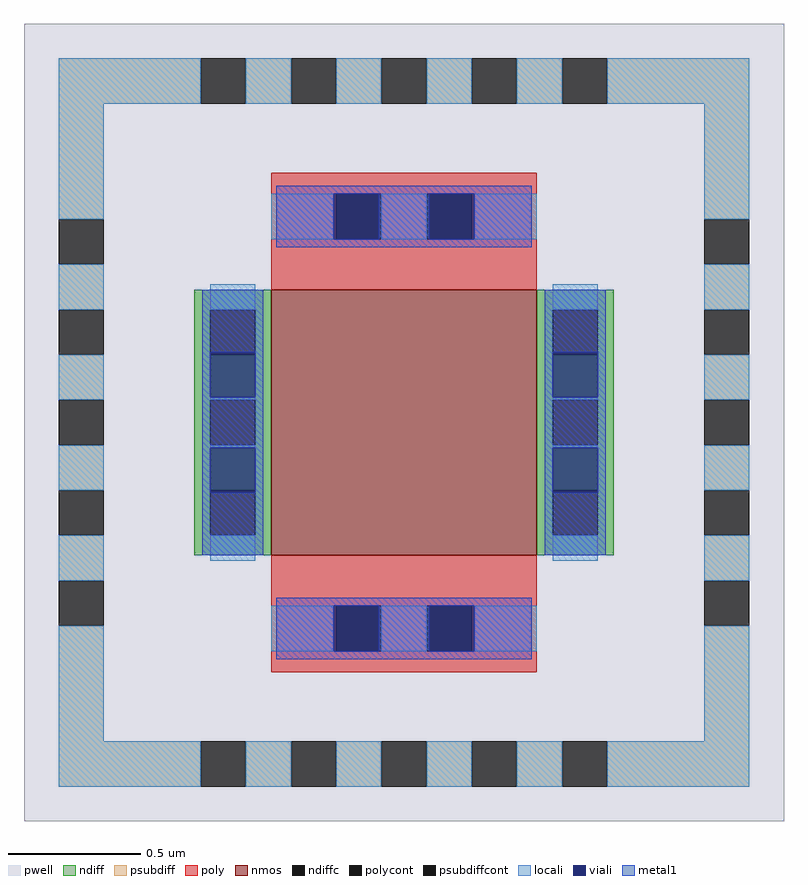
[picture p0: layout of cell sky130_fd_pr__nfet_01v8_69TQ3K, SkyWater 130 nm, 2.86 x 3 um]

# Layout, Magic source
magic
tech sky130A
magscale 1 2
<< pwell >>
rect -286 -300 286 300
<< nmos >>
rect -100 -100 100 100
<< ndiff >>
rect -158 85 -100 100
rect -158 51 -146 85
rect -112 51 -100 85
rect -158 17 -100 51
rect -158 -17 -146 17
rect -112 -17 -100 17
rect -158 -51 -100 -17
rect -158 -85 -146 -51
rect -112 -85 -100 -51
rect -158 -100 -100 -85
rect 100 85 158 100
rect 100 51 112 85
rect 146 51 158 85
rect 100 17 158 51
rect 100 -17 112 17
rect 146 -17 158 17
rect 100 -51 158 -17
rect 100 -85 112 -51
rect 146 -85 158 -51
rect 100 -100 158 -85
<< ndiffc >>
rect -146 51 -112 85
rect -146 -17 -112 17
rect -146 -85 -112 -51
rect 112 51 146 85
rect 112 -17 146 17
rect 112 -85 146 -51
<< psubdiff >>
rect -260 240 -153 274
rect -119 240 -85 274
rect -51 240 -17 274
rect 17 240 51 274
rect 85 240 119 274
rect 153 240 260 274
rect -260 153 -226 240
rect -260 85 -226 119
rect 226 153 260 240
rect -260 17 -226 51
rect -260 -51 -226 -17
rect -260 -119 -226 -85
rect 226 85 260 119
rect 226 17 260 51
rect 226 -51 260 -17
rect -260 -240 -226 -153
rect 226 -119 260 -85
rect 226 -240 260 -153
rect -260 -274 -153 -240
rect -119 -274 -85 -240
rect -51 -274 -17 -240
rect 17 -274 51 -240
rect 85 -274 119 -240
rect 153 -274 260 -240
<< psubdiffcont >>
rect -153 240 -119 274
rect -85 240 -51 274
rect -17 240 17 274
rect 51 240 85 274
rect 119 240 153 274
rect -260 119 -226 153
rect 226 119 260 153
rect -260 51 -226 85
rect -260 -17 -226 17
rect -260 -85 -226 -51
rect 226 51 260 85
rect 226 -17 260 17
rect 226 -85 260 -51
rect -260 -153 -226 -119
rect 226 -153 260 -119
rect -153 -274 -119 -240
rect -85 -274 -51 -240
rect -17 -274 17 -240
rect 51 -274 85 -240
rect 119 -274 153 -240
<< poly >>
rect -100 172 100 188
rect -100 138 -51 172
rect -17 138 17 172
rect 51 138 100 172
rect -100 100 100 138
rect -100 -138 100 -100
rect -100 -172 -51 -138
rect -17 -172 17 -138
rect 51 -172 100 -138
rect -100 -188 100 -172
<< polycont >>
rect -51 138 -17 172
rect 17 138 51 172
rect -51 -172 -17 -138
rect 17 -172 51 -138
<< locali >>
rect -260 240 -153 274
rect -119 240 -85 274
rect -51 240 -17 274
rect 17 240 51 274
rect 85 240 119 274
rect 153 240 260 274
rect -260 153 -226 240
rect -100 138 -53 172
rect -17 138 17 172
rect 53 138 100 172
rect 226 153 260 240
rect -260 85 -226 119
rect -260 17 -226 51
rect -260 -51 -226 -17
rect -260 -119 -226 -85
rect -146 85 -112 104
rect -146 17 -112 19
rect -146 -19 -112 -17
rect -146 -104 -112 -85
rect 112 85 146 104
rect 112 17 146 19
rect 112 -19 146 -17
rect 112 -104 146 -85
rect 226 85 260 119
rect 226 17 260 51
rect 226 -51 260 -17
rect 226 -119 260 -85
rect -260 -240 -226 -153
rect -100 -172 -53 -138
rect -17 -172 17 -138
rect 53 -172 100 -138
rect 226 -240 260 -153
rect -260 -274 -153 -240
rect -119 -274 -85 -240
rect -51 -274 -17 -240
rect 17 -274 51 -240
rect 85 -274 119 -240
rect 153 -274 260 -240
<< viali >>
rect -53 138 -51 172
rect -51 138 -19 172
rect 19 138 51 172
rect 51 138 53 172
rect -146 51 -112 53
rect -146 19 -112 51
rect -146 -51 -112 -19
rect -146 -53 -112 -51
rect 112 51 146 53
rect 112 19 146 51
rect 112 -51 146 -19
rect 112 -53 146 -51
rect -53 -172 -51 -138
rect -51 -172 -19 -138
rect 19 -172 51 -138
rect 51 -172 53 -138
<< metal1 >>
rect -96 172 96 178
rect -96 138 -53 172
rect -19 138 19 172
rect 53 138 96 172
rect -96 132 96 138
rect -152 53 -106 100
rect -152 19 -146 53
rect -112 19 -106 53
rect -152 -19 -106 19
rect -152 -53 -146 -19
rect -112 -53 -106 -19
rect -152 -100 -106 -53
rect 106 53 152 100
rect 106 19 112 53
rect 146 19 152 53
rect 106 -19 152 19
rect 106 -53 112 -19
rect 146 -53 152 -19
rect 106 -100 152 -53
rect -96 -138 96 -132
rect -96 -172 -53 -138
rect -19 -172 19 -138
rect 53 -172 96 -138
rect -96 -178 96 -172
<< properties >>
string FIXED_BBOX -242 -256 242 256
<< end >>
